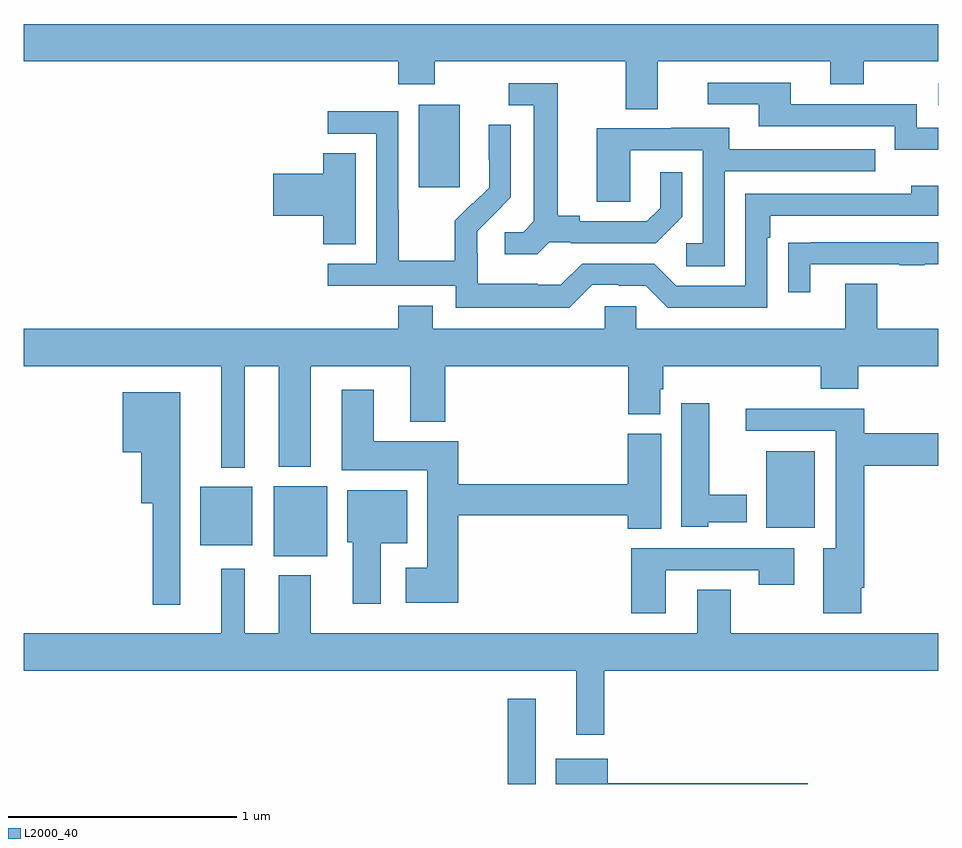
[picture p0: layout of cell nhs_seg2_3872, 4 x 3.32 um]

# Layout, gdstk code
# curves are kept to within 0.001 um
import gdstk
lib = gdstk.Library(unit=1e-6, precision=1e-09)
def R(c, l, rs):  # rectangles x0, y0, x1, y1
    for r in rs: c.add(gdstk.rectangle(r[:2], r[2:], *l))
def P(c, l, *ps):  # polygons
    for p in ps: c.add(gdstk.Polygon(p, *l))
L2000_40 = (2000, 40)

nhs_seg2_3872 = lib.new_cell('nhs_seg2_3872')
R(nhs_seg2_3872, L2000_40, [(317.118,653.8,317.239,654.172), (316.094,654.797,316.327,655.102), (315.773,654.845,316,655.099), (318.248,654.92,318.46,655.255), (316.727,656.409,316.906,656.77), (318.999,656.769,319,656.865)])
P(nhs_seg2_3872, L2000_40, [(315,656.96),(316.637,656.96),(316.637,656.861),(316.797,656.861),(316.797,656.96),(317.633,656.96),(317.633,656.752),(317.773,656.752),(317.773,656.96),(318.527,656.96),(318.527,656.861),(318.675,656.861),(318.675,656.96),(319,656.96),(319,657.124),(315,657.124)],
  [(319,656.67),(318.906,656.67),(318.906,656.772),(318.355,656.772),(318.355,656.868),(317.991,656.868),(317.991,656.772),(318.215,656.772),(318.215,656.676),(318.81,656.676),(318.81,656.573),(319,656.573)],
  [(317.298,656.169),(317.392,656.169),(317.392,656.166),(317.764,656.166),(317.88,656.282),(317.88,656.476),(317.783,656.476),(317.783,656.319),(317.726,656.262),(317.431,656.262),(317.431,656.285),(317.335,656.285),(317.335,656.865),(317.121,656.865),(317.121,656.769),(317.231,656.769),(317.231,656.261),(317.184,656.214),(317.103,656.214),(317.103,656.117),(317.246,656.117)],
  [(317.487,655.983),(317.603,655.983),(317.603,655.98),(317.721,655.98),(317.817,655.884),(318.252,655.884),(318.252,656.189),(318.265,656.189),(318.265,656.286),(319,656.286),(319,656.416),(318.881,656.416),(318.881,656.382),(318.156,656.382),(318.156,655.98),(317.853,655.98),(317.757,656.076),(317.442,656.076),(317.349,655.983),(317.249,655.983),(317.249,655.987),(316.986,655.987),(316.986,656.121),(316.984,656.121),(316.984,656.218),(317.13,656.366),(317.13,656.684),(317.034,656.684),(317.034,656.53),(317.036,656.53),(317.036,656.408),(316.965,656.337),(316.962,656.34),(316.885,656.263),(316.885,656.089),(316.641,656.089),(316.641,656.312),(316.638,656.312),(316.638,656.742),(316.329,656.742),(316.329,656.643),(316.542,656.643),(316.542,656.076),(316.329,656.076),(316.329,655.98),(316.89,655.98),(316.89,655.883),(317.387,655.883)],
  [(318.066,656.481),(318.725,656.481),(318.725,656.577),(318.085,656.577),(318.085,656.671),(317.831,656.671),(317.831,656.667),(317.507,656.667),(317.507,656.347),(317.652,656.347),(317.652,656.571),(317.97,656.571),(317.97,656.166),(317.898,656.166),(317.898,656.065),(318.066,656.065)],
  [(316.453,656.558),(316.31,656.558),(316.31,656.468),(316.092,656.468),(316.092,656.285),(316.31,656.285),(316.31,656.161),(316.453,656.161)],
  [(318.439,656.073),(318.829,656.073),(318.829,656.068),(318.941,656.068),(318.941,656.073),(319,656.073),(319,656.169),(318.445,656.169),(318.445,656.168),(318.343,656.168),(318.343,655.95),(318.439,655.95)],
  [(315.967,655.628),(316.115,655.628),(316.115,655.187),(316.255,655.187),(316.255,655.628),(316.691,655.628),(316.691,655.385),(316.844,655.385),(316.844,655.628),(317.645,655.628),(317.645,655.417),(317.785,655.417),(317.785,655.527),(317.798,655.527),(317.798,655.628),(318.485,655.628),(318.485,655.529),(318.65,655.529),(318.65,655.628),(319,655.628),(319,655.792),(318.733,655.792),(318.733,655.987),(318.593,655.987),(318.593,655.792),(317.679,655.792),(317.679,655.89),(317.541,655.89),(317.541,655.792),(316.789,655.792),(316.789,655.891),(316.637,655.891),(316.637,655.792),(315,655.792),(315,655.628),(315.863,655.628),(315.863,655.184),(315.967,655.184)],
  [(316.901,654.976),(317.642,654.976),(317.642,654.916),(317.788,654.916),(317.788,655.332),(317.642,655.332),(317.642,655.112),(316.901,655.112),(316.901,655.3),(316.531,655.3),(316.531,655.525),(316.391,655.525),(316.391,655.172),(316.766,655.172),(316.766,654.745),(316.671,654.745),(316.671,654.593),(316.901,654.593)],
  [(315.685,655.513),(315.434,655.513),(315.434,655.25),(315.515,655.25),(315.515,655.028),(315.564,655.028),(315.564,654.585),(315.685,654.585)],
  [(317.994,654.944),(318.163,654.944),(318.163,655.066),(317.998,655.066),(317.998,655.465),(317.876,655.465),(317.876,654.926),(317.994,654.926)],
  [(318.664,654.658),(318.677,654.658),(318.677,655.193),(319,655.193),(319,655.335),(318.677,655.335),(318.677,655.442),(318.159,655.442),(318.159,655.344),(318.551,655.344),(318.551,654.832),(318.497,654.832),(318.497,654.546),(318.664,654.546)],
  [(316.561,654.854),(316.678,654.854),(316.678,655.084),(316.415,655.084),(316.415,654.858),(316.439,654.858),(316.439,654.588),(316.561,654.588)],
  [(317.809,654.735),(318.214,654.735),(318.214,654.672),(318.37,654.672),(318.37,654.831),(317.657,654.831),(317.657,654.546),(317.809,654.546)],
  [(317.539,654.296),(319,654.296),(319,654.46),(318.093,654.46),(318.093,654.65),(317.945,654.65),(317.945,654.46),(316.255,654.46),(316.255,654.712),(316.115,654.712),(316.115,654.46),(315.967,654.46),(315.967,654.742),(315.863,654.742),(315.863,654.46),(315,654.46),(315,654.296),(317.417,654.296),(317.417,654.015),(317.539,654.015)],
  [(318.43,653.804),(317.554,653.804),(317.554,653.911),(317.327,653.911),(317.327,653.8),(318.43,653.8)])

lib.write_gds('nhs_seg2_3872.gds')
